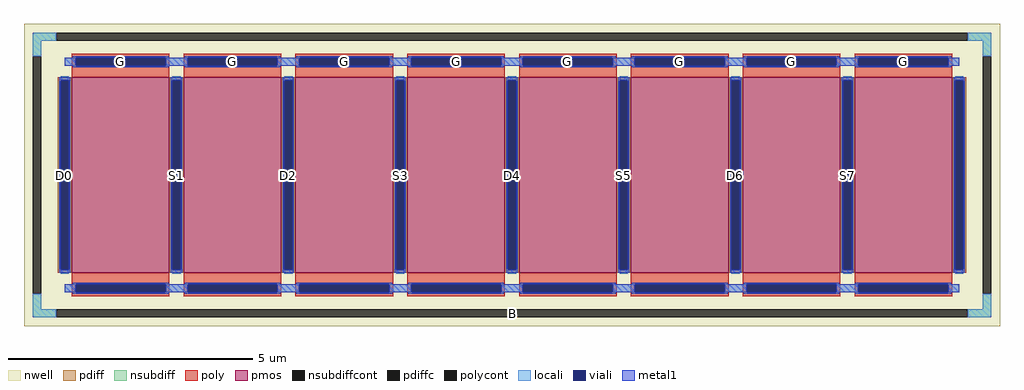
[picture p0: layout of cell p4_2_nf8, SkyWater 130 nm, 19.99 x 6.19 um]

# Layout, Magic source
magic
tech sky130A
magscale 1 2
<< nwell >>
rect -1999 -619 1999 619
<< pmos >>
rect -1803 -400 -1403 400
rect -1345 -400 -945 400
rect -887 -400 -487 400
rect -429 -400 -29 400
rect 29 -400 429 400
rect 487 -400 887 400
rect 945 -400 1345 400
rect 1403 -400 1803 400
<< pdiff >>
rect -1861 388 -1803 400
rect -1861 -388 -1849 388
rect -1815 -388 -1803 388
rect -1861 -400 -1803 -388
rect -1403 388 -1345 400
rect -1403 -388 -1391 388
rect -1357 -388 -1345 388
rect -1403 -400 -1345 -388
rect -945 388 -887 400
rect -945 -388 -933 388
rect -899 -388 -887 388
rect -945 -400 -887 -388
rect -487 388 -429 400
rect -487 -388 -475 388
rect -441 -388 -429 388
rect -487 -400 -429 -388
rect -29 388 29 400
rect -29 -388 -17 388
rect 17 -388 29 388
rect -29 -400 29 -388
rect 429 388 487 400
rect 429 -388 441 388
rect 475 -388 487 388
rect 429 -400 487 -388
rect 887 388 945 400
rect 887 -388 899 388
rect 933 -388 945 388
rect 887 -400 945 -388
rect 1345 388 1403 400
rect 1345 -388 1357 388
rect 1391 -388 1403 388
rect 1345 -400 1403 -388
rect 1803 388 1861 400
rect 1803 -388 1815 388
rect 1849 -388 1861 388
rect 1803 -400 1861 -388
<< pdiffc >>
rect -1849 -388 -1815 388
rect -1391 -388 -1357 388
rect -933 -388 -899 388
rect -475 -388 -441 388
rect -17 -388 17 388
rect 441 -388 475 388
rect 899 -388 933 388
rect 1357 -388 1391 388
rect 1815 -388 1849 388
<< nsubdiff >>
rect -1963 549 -1867 583
rect 1867 549 1963 583
rect -1963 487 -1929 549
rect 1929 487 1963 549
rect -1963 -549 -1929 -487
rect 1929 -549 1963 -487
rect -1963 -583 -1867 -549
rect 1867 -583 1963 -549
<< nsubdiffcont >>
rect -1867 549 1867 583
rect -1963 -487 -1929 487
rect 1929 -487 1963 487
rect -1867 -583 1867 -549
<< poly >>
rect -1803 481 -1403 497
rect -1803 447 -1787 481
rect -1419 447 -1403 481
rect -1803 400 -1403 447
rect -1345 481 -945 497
rect -1345 447 -1329 481
rect -961 447 -945 481
rect -1345 400 -945 447
rect -887 481 -487 497
rect -887 447 -871 481
rect -503 447 -487 481
rect -887 400 -487 447
rect -429 481 -29 497
rect -429 447 -413 481
rect -45 447 -29 481
rect -429 400 -29 447
rect 29 481 429 497
rect 29 447 45 481
rect 413 447 429 481
rect 29 400 429 447
rect 487 481 887 497
rect 487 447 503 481
rect 871 447 887 481
rect 487 400 887 447
rect 945 481 1345 497
rect 945 447 961 481
rect 1329 447 1345 481
rect 945 400 1345 447
rect 1403 481 1803 497
rect 1403 447 1419 481
rect 1787 447 1803 481
rect 1403 400 1803 447
rect -1803 -447 -1403 -400
rect -1803 -481 -1787 -447
rect -1419 -481 -1403 -447
rect -1803 -497 -1403 -481
rect -1345 -447 -945 -400
rect -1345 -481 -1329 -447
rect -961 -481 -945 -447
rect -1345 -497 -945 -481
rect -887 -447 -487 -400
rect -887 -481 -871 -447
rect -503 -481 -487 -447
rect -887 -497 -487 -481
rect -429 -447 -29 -400
rect -429 -481 -413 -447
rect -45 -481 -29 -447
rect -429 -497 -29 -481
rect 29 -447 429 -400
rect 29 -481 45 -447
rect 413 -481 429 -447
rect 29 -497 429 -481
rect 487 -447 887 -400
rect 487 -481 503 -447
rect 871 -481 887 -447
rect 487 -497 887 -481
rect 945 -447 1345 -400
rect 945 -481 961 -447
rect 1329 -481 1345 -447
rect 945 -497 1345 -481
rect 1403 -447 1803 -400
rect 1403 -481 1419 -447
rect 1787 -481 1803 -447
rect 1403 -497 1803 -481
<< polycont >>
rect -1787 447 -1419 481
rect -1329 447 -961 481
rect -871 447 -503 481
rect -413 447 -45 481
rect 45 447 413 481
rect 503 447 871 481
rect 961 447 1329 481
rect 1419 447 1787 481
rect -1787 -481 -1419 -447
rect -1329 -481 -961 -447
rect -871 -481 -503 -447
rect -413 -481 -45 -447
rect 45 -481 413 -447
rect 503 -481 871 -447
rect 961 -481 1329 -447
rect 1419 -481 1787 -447
<< locali >>
rect -1963 549 -1867 583
rect 1867 549 1963 583
rect -1963 487 -1929 549
rect 1929 487 1963 549
rect -1832 447 -1787 481
rect -1419 447 -1329 481
rect -961 447 -871 481
rect -503 447 -413 481
rect -45 447 45 481
rect 413 447 503 481
rect 871 447 961 481
rect 1329 447 1419 481
rect 1787 447 1832 481
rect -1849 388 -1815 404
rect -1849 -404 -1815 -388
rect -1391 388 -1357 404
rect -1391 -404 -1357 -388
rect -933 388 -899 404
rect -933 -404 -899 -388
rect -475 388 -441 404
rect -475 -404 -441 -388
rect -17 388 17 404
rect -17 -404 17 -388
rect 441 388 475 404
rect 441 -404 475 -388
rect 899 388 933 404
rect 899 -404 933 -388
rect 1357 388 1391 404
rect 1357 -404 1391 -388
rect 1815 388 1849 404
rect 1815 -404 1849 -388
rect -1832 -481 -1787 -447
rect -1419 -481 -1329 -447
rect -961 -481 -871 -447
rect -503 -481 -413 -447
rect -45 -481 45 -447
rect 413 -481 503 -447
rect 871 -481 961 -447
rect 1329 -481 1419 -447
rect 1787 -481 1832 -447
rect -1963 -549 -1929 -487
rect 1929 -549 1963 -487
rect -1963 -583 -1867 -549
rect 1867 -583 1963 -549
<< viali >>
rect -1787 447 -1419 481
rect -1329 447 -961 481
rect -871 447 -503 481
rect -413 447 -45 481
rect 45 447 413 481
rect 503 447 871 481
rect 961 447 1329 481
rect 1419 447 1787 481
rect -1849 -388 -1815 388
rect -1391 -388 -1357 388
rect -933 -388 -899 388
rect -475 -388 -441 388
rect -17 -388 17 388
rect 441 -388 475 388
rect 899 -388 933 388
rect 1357 -388 1391 388
rect 1815 -388 1849 388
rect -1787 -481 -1419 -447
rect -1329 -481 -961 -447
rect -871 -481 -503 -447
rect -413 -481 -45 -447
rect 45 -481 413 -447
rect 503 -481 871 -447
rect 961 -481 1329 -447
rect 1419 -481 1787 -447
<< metal1 >>
rect -1799 481 -1407 487
rect -1341 481 -949 487
rect -883 481 -491 487
rect -425 481 -33 487
rect 33 481 425 487
rect 491 481 883 487
rect 949 481 1341 487
rect 1407 481 1799 487
rect -1832 447 -1787 481
rect -1419 447 -1329 481
rect -961 447 -871 481
rect -503 447 -413 481
rect -45 447 45 481
rect 413 447 503 481
rect 871 447 961 481
rect 1329 447 1419 481
rect 1787 447 1832 481
rect -1799 441 -1407 447
rect -1341 441 -949 447
rect -883 441 -491 447
rect -425 441 -33 447
rect 33 441 425 447
rect 491 441 883 447
rect 949 441 1341 447
rect 1407 441 1799 447
rect -1855 388 -1809 400
rect -1855 -388 -1849 388
rect -1815 -388 -1809 388
rect -1855 -400 -1809 -388
rect -1397 388 -1351 400
rect -1397 -388 -1391 388
rect -1357 -388 -1351 388
rect -1397 -400 -1351 -388
rect -939 388 -893 400
rect -939 -388 -933 388
rect -899 -388 -893 388
rect -939 -400 -893 -388
rect -481 388 -435 400
rect -481 -388 -475 388
rect -441 -388 -435 388
rect -481 -400 -435 -388
rect -23 388 23 400
rect -23 -388 -17 388
rect 17 -388 23 388
rect -23 -400 23 -388
rect 435 388 481 400
rect 435 -388 441 388
rect 475 -388 481 388
rect 435 -400 481 -388
rect 893 388 939 400
rect 893 -388 899 388
rect 933 -388 939 388
rect 893 -400 939 -388
rect 1351 388 1397 400
rect 1351 -388 1357 388
rect 1391 -388 1397 388
rect 1351 -400 1397 -388
rect 1809 388 1855 400
rect 1809 -388 1815 388
rect 1849 -388 1855 388
rect 1809 -400 1855 -388
rect -1799 -447 -1407 -441
rect -1341 -447 -949 -441
rect -883 -447 -491 -441
rect -425 -447 -33 -441
rect 33 -447 425 -441
rect 491 -447 883 -441
rect 949 -447 1341 -441
rect 1407 -447 1799 -441
rect -1832 -481 -1787 -447
rect -1419 -481 -1329 -447
rect -961 -481 -871 -447
rect -503 -481 -413 -447
rect -45 -481 45 -447
rect 413 -481 503 -447
rect 871 -481 961 -447
rect 1329 -481 1419 -447
rect 1787 -481 1832 -447
rect -1799 -487 -1407 -481
rect -1341 -487 -949 -481
rect -883 -487 -491 -481
rect -425 -487 -33 -481
rect 33 -487 425 -481
rect 491 -487 883 -481
rect 949 -487 1341 -481
rect 1407 -487 1799 -481
<< labels >>
rlabel nsubdiffcont 0 -566 0 -566 0 B
port 1 nsew
rlabel pdiffc -1832 0 -1832 0 0 D0
port 2 nsew
rlabel polycont -1603 464 -1603 464 0 G
port 3 nsew
rlabel pdiffc -1374 0 -1374 0 0 S1
port 4 nsew
rlabel polycont -1145 464 -1145 464 0 G
port 3 nsew
rlabel pdiffc -916 0 -916 0 0 D2
port 5 nsew
rlabel polycont -687 464 -687 464 0 G
port 3 nsew
rlabel pdiffc -458 0 -458 0 0 S3
port 6 nsew
rlabel polycont -229 464 -229 464 0 G
port 3 nsew
rlabel pdiffc 0 0 0 0 0 D4
port 7 nsew
rlabel polycont 229 464 229 464 0 G
port 3 nsew
rlabel pdiffc 458 0 458 0 0 S5
port 8 nsew
rlabel polycont 687 464 687 464 0 G
port 3 nsew
rlabel pdiffc 916 0 916 0 0 D6
port 9 nsew
rlabel polycont 1145 464 1145 464 0 G
port 3 nsew
rlabel pdiffc 1374 0 1374 0 0 S7
port 10 nsew
rlabel polycont 1603 464 1603 464 0 G
port 3 nsew
<< properties >>
string FIXED_BBOX -1946 -566 1946 566
string gencell sky130_fd_pr__pfet_01v8
string library sky130
string parameters w 4 l 2 m 1 nf 8 diffcov 100 polycov 100 guard 1 glc 1 grc 1 gtc 1 gbc 1 tbcov 100 rlcov 100 topc 1 botc 1 poverlap 0 doverlap 1 lmin 0.15 wmin 0.42 class mosfet compatible {sky130_fd_pr__pfet_01v8  sky130_fd_pr__pfet_01v8_lvt sky130_fd_pr__pfet_01v8_hvt  sky130_fd_pr__pfet_g5v0d10v5} full_metal 1 conn_gates 1 viasrc 100 viadrn 100 viagate 100 viagb 0 viagr 0 viagl 0 viagt 0 doports 1
<< end >>
